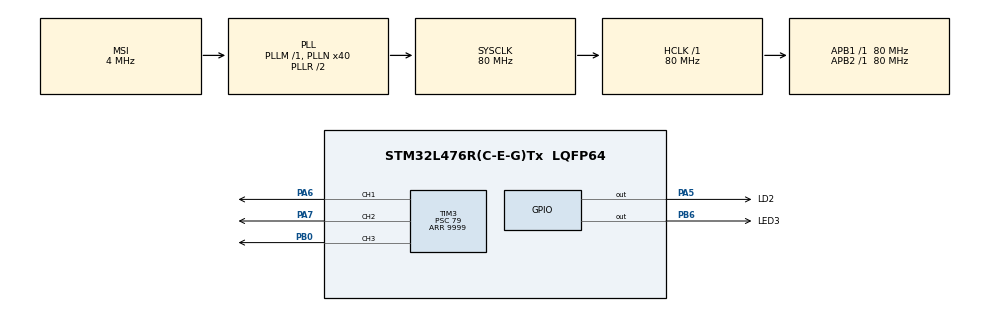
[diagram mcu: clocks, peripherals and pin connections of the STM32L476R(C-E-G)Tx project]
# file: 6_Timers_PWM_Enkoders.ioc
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Mcu.Family=STM32L4
Mcu.Name=STM32L476R(C-E-G)Tx
Mcu.Package=LQFP64
NVIC.PriorityGroup=NVIC_PRIORITYGROUP_4
NVIC.TIM3_IRQn=true\:10\:0\:true\:false\:true\:true\:true\:true
PA13\ (JTMS-SWDIO).Mode=Serial_Wire
PA13\ (JTMS-SWDIO).Signal=SYS_JTMS-SWDIO
PA14\ (JTCK-SWCLK).Mode=Serial_Wire
PA14\ (JTCK-SWCLK).Signal=SYS_JTCK-SWCLK
PA5.GPIO_Label=LD2
PA5.Signal=GPIO_Output
PA6.Signal=S_TIM3_CH1
PA7.Signal=S_TIM3_CH2
PB0.Signal=S_TIM3_CH3
PB6.GPIO_Label=LED3
PB6.Signal=GPIO_Output
ProjectManager.HeapSize=0x200
ProjectManager.StackSize=0x400
ProjectManager.TargetToolchain=STM32CubeIDE
RCC.AHBFreq_Value=80000000
RCC.APB1Freq_Value=80000000
RCC.APB1TimFreq_Value=80000000
RCC.APB2Freq_Value=80000000
RCC.APB2TimFreq_Value=80000000
RCC.CortexFreq_Value=80000000
RCC.HCLKFreq_Value=80000000
RCC.HSE_VALUE=8000000
RCC.HSI_VALUE=16000000
RCC.LSE_VALUE=32768
RCC.MSI_VALUE=4000000
RCC.PLLN=40
RCC.SYSCLKFreq_VALUE=80000000
RCC.SYSCLKSource=RCC_SYSCLKSOURCE_PLLCLK
RCC.VCOOutputFreq_Value=160000000
SH.S_TIM3_CH1.0=TIM3_CH1,PWM Generation1 CH1
SH.S_TIM3_CH2.0=TIM3_CH2,PWM Generation2 CH2
SH.S_TIM3_CH3.0=TIM3_CH3,PWM Generation3 CH3
TIM3.Channel-PWM\ Generation1\ CH1=TIM_CHANNEL_1
TIM3.Channel-PWM\ Generation2\ CH2=TIM_CHANNEL_2
TIM3.Channel-PWM\ Generation3\ CH3=TIM_CHANNEL_3
TIM3.OCPolarity_1=TIM_OCPOLARITY_LOW
TIM3.OCPolarity_2=TIM_OCPOLARITY_LOW
TIM3.OCPolarity_3=TIM_OCPOLARITY_LOW
TIM3.Period=9999
TIM3.Prescaler=79
TIM3.Pulse-PWM\ Generation1\ CH1=40
TIM3.Pulse-PWM\ Generation2\ CH2=500
TIM3.Pulse-PWM\ Generation3\ CH3=2000
VP_TIM3_VS_ClockSourceINT.Mode=Internal
board=custom

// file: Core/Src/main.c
/* USER CODE BEGIN Header */
/**
  ******************************************************************************
  * @file           : main.c
  * @brief          : Main program body
  ******************************************************************************
  * @attention
  *
  * Copyright (c) 2024 STMicroelectronics.
  * All rights reserved.
  *
  * This software is licensed under terms that can be found in the LICENSE file
  * in the root directory of this software component.
  * If no LICENSE file comes with this software, it is provided AS-IS.
  *
  ******************************************************************************
  */
/* USER CODE END Header */
#include "main.h"

/* USER CODE BEGIN Includes */
#include "math.h"
#include <stdbool.h>
/* USER CODE END Includes */

TIM_HandleTypeDef htim3;

void SystemClock_Config(void);
static void MX_GPIO_Init(void);
static void MX_TIM3_Init(void);

/* USER CODE BEGIN 0 */
void HAL_TIM_PeriodElapsedCallback(TIM_HandleTypeDef *htim)
{
  if (htim == &htim3) {
    HAL_GPIO_TogglePin(LD2_GPIO_Port, LD2_Pin);
  }
}

float calc_pwm(float val)
{
    const float k = 0.13f;
    const float x0 = 70.0f;
    return 10000.0f / (1.0f + exp(-k * (val - x0)));
}

/* USER CODE END 0 */

int main(void)
{

  /* MCU Configuration--------------------------------------------------------*/

  /* Reset of all peripherals, Initializes the Flash interface and the Systick. */
  HAL_Init();

  /* Configure the system clock */
  SystemClock_Config();

  /* Initialize all configured peripherals */
  MX_GPIO_Init();
  MX_TIM3_Init();
  /* USER CODE BEGIN 2 */
  HAL_TIM_Base_Start_IT(&htim3);
  HAL_TIM_PWM_Start(&htim3, TIM_CHANNEL_1);
  HAL_TIM_PWM_Start(&htim3, TIM_CHANNEL_2);
  HAL_TIM_PWM_Start(&htim3, TIM_CHANNEL_3);
  int counter=0;
  bool back=0;
  /* USER CODE END 2 */

  /* Infinite loop */
  /* USER CODE BEGIN WHILE */
  while (1)
  {

	  __HAL_TIM_SET_COMPARE(&htim3, TIM_CHANNEL_1, calc_pwm(0));
	  __HAL_TIM_SET_COMPARE(&htim3, TIM_CHANNEL_2, calc_pwm(0));
	  __HAL_TIM_SET_COMPARE(&htim3, TIM_CHANNEL_3, calc_pwm(counter));

	  HAL_Delay(10);
	  if(counter==100)
	  {
		  back = 1;
		  counter--;
	  }
	  if(counter==0&&back)
	  {
		  back=0;
		  counter++;
	  }

	  if(back)
		  counter--;
	  else
		  counter++;
    /* USER CODE END WHILE */

  }
}

void SystemClock_Config(void)
{
  RCC_OscInitTypeDef RCC_OscInitStruct = {0};
  RCC_ClkInitTypeDef RCC_ClkInitStruct = {0};

  /** Configure the main internal regulator output voltage
  */
  if (HAL_PWREx_ControlVoltageScaling(PWR_REGULATOR_VOLTAGE_SCALE1) != HAL_OK)
  {
    Error_Handler();
  }

  /** Initializes the RCC Oscillators according to the specified parameters
  * in the RCC_OscInitTypeDef structure.
  */
  RCC_OscInitStruct.OscillatorType = RCC_OSCILLATORTYPE_MSI;
  RCC_OscInitStruct.MSIState = RCC_MSI_ON;
  RCC_OscInitStruct.MSICalibrationValue = 0;
  RCC_OscInitStruct.MSIClockRange = RCC_MSIRANGE_6;
  RCC_OscInitStruct.PLL.PLLState = RCC_PLL_ON;
  RCC_OscInitStruct.PLL.PLLSource = RCC_PLLSOURCE_MSI;
  RCC_OscInitStruct.PLL.PLLM = 1;
  RCC_OscInitStruct.PLL.PLLN = 40;
  RCC_OscInitStruct.PLL.PLLP = RCC_PLLP_DIV7;
  RCC_OscInitStruct.PLL.PLLQ = RCC_PLLQ_DIV2;
  RCC_OscInitStruct.PLL.PLLR = RCC_PLLR_DIV2;
  if (HAL_RCC_OscConfig(&RCC_OscInitStruct) != HAL_OK)
  {
    Error_Handler();
  }

  /** Initializes the CPU, AHB and APB buses clocks
  */
  RCC_ClkInitStruct.ClockType = RCC_CLOCKTYPE_HCLK|RCC_CLOCKTYPE_SYSCLK
                              |RCC_CLOCKTYPE_PCLK1|RCC_CLOCKTYPE_PCLK2;
  RCC_ClkInitStruct.SYSCLKSource = RCC_SYSCLKSOURCE_PLLCLK;
  RCC_ClkInitStruct.AHBCLKDivider = RCC_SYSCLK_DIV1;
  RCC_ClkInitStruct.APB1CLKDivider = RCC_HCLK_DIV1;
  RCC_ClkInitStruct.APB2CLKDivider = RCC_HCLK_DIV1;

  if (HAL_RCC_ClockConfig(&RCC_ClkInitStruct, FLASH_LATENCY_4) != HAL_OK)
  {
    Error_Handler();
  }
}

static void MX_TIM3_Init(void)
{

  TIM_ClockConfigTypeDef sClockSourceConfig = {0};
  TIM_MasterConfigTypeDef sMasterConfig = {0};
  TIM_OC_InitTypeDef sConfigOC = {0};

  htim3.Instance = TIM3;
  htim3.Init.Prescaler = 79;
  htim3.Init.CounterMode = TIM_COUNTERMODE_UP;
  htim3.Init.Period = 9999;
  htim3.Init.ClockDivision = TIM_CLOCKDIVISION_DIV1;
  htim3.Init.AutoReloadPreload = TIM_AUTORELOAD_PRELOAD_DISABLE;
  if (HAL_TIM_Base_Init(&htim3) != HAL_OK)
  {
    Error_Handler();
  }
  sClockSourceConfig.ClockSource = TIM_CLOCKSOURCE_INTERNAL;
  if (HAL_TIM_ConfigClockSource(&htim3, &sClockSourceConfig) != HAL_OK)
  {
    Error_Handler();
  }
  if (HAL_TIM_PWM_Init(&htim3) != HAL_OK)
  {
    Error_Handler();
  }
  sMasterConfig.MasterOutputTrigger = TIM_TRGO_RESET;
  sMasterConfig.MasterSlaveMode = TIM_MASTERSLAVEMODE_DISABLE;
  if (HAL_TIMEx_MasterConfigSynchronization(&htim3, &sMasterConfig) != HAL_OK)
  {
    Error_Handler();
  }
  sConfigOC.OCMode = TIM_OCMODE_PWM1;
  sConfigOC.Pulse = 40;
  sConfigOC.OCPolarity = TIM_OCPOLARITY_LOW;
  sConfigOC.OCFastMode = TIM_OCFAST_DISABLE;
  if (HAL_TIM_PWM_ConfigChannel(&htim3, &sConfigOC, TIM_CHANNEL_1) != HAL_OK)
  {
    Error_Handler();
  }
  sConfigOC.Pulse = 500;
  if (HAL_TIM_PWM_ConfigChannel(&htim3, &sConfigOC, TIM_CHANNEL_2) != HAL_OK)
  {
    Error_Handler();
  }
  sConfigOC.Pulse = 2000;
  if (HAL_TIM_PWM_ConfigChannel(&htim3, &sConfigOC, TIM_CHANNEL_3) != HAL_OK)
  {
    Error_Handler();
  }
  HAL_TIM_MspPostInit(&htim3);

}

static void MX_GPIO_Init(void)
{
  GPIO_InitTypeDef GPIO_InitStruct = {0};

  /* GPIO Ports Clock Enable */
  __HAL_RCC_GPIOA_CLK_ENABLE();
  __HAL_RCC_GPIOB_CLK_ENABLE();

  /*Configure GPIO pin Output Level */
  HAL_GPIO_WritePin(LD2_GPIO_Port, LD2_Pin, GPIO_PIN_RESET);

  /*Configure GPIO pin Output Level */
  HAL_GPIO_WritePin(LED3_GPIO_Port, LED3_Pin, GPIO_PIN_RESET);

  /*Configure GPIO pin : LD2_Pin */
  GPIO_InitStruct.Pin = LD2_Pin;
  GPIO_InitStruct.Mode = GPIO_MODE_OUTPUT_PP;
  GPIO_InitStruct.Pull = GPIO_NOPULL;
  GPIO_InitStruct.Speed = GPIO_SPEED_FREQ_LOW;
  HAL_GPIO_Init(LD2_GPIO_Port, &GPIO_InitStruct);

  /*Configure GPIO pin : LED3_Pin */
  GPIO_InitStruct.Pin = LED3_Pin;
  GPIO_InitStruct.Mode = GPIO_MODE_OUTPUT_PP;
  GPIO_InitStruct.Pull = GPIO_NOPULL;
  GPIO_InitStruct.Speed = GPIO_SPEED_FREQ_LOW;
  HAL_GPIO_Init(LED3_GPIO_Port, &GPIO_InitStruct);

}

void Error_Handler(void)
{
  __disable_irq();
  while (1)
  {
  }
}
